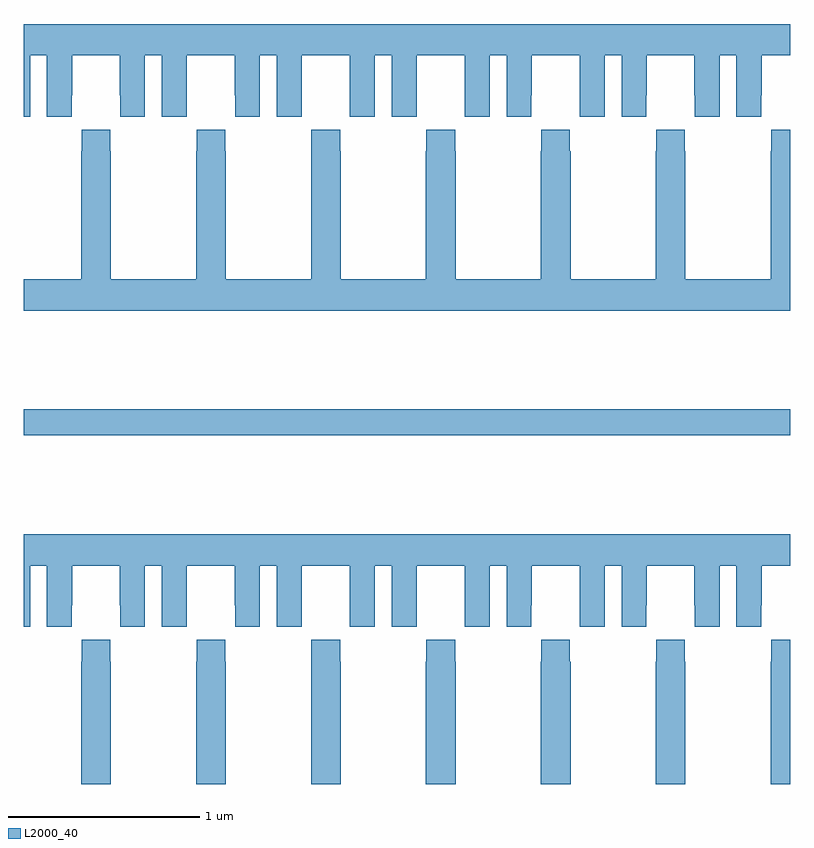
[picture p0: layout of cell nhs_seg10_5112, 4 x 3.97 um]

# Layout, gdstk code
import gdstk
lib = gdstk.Library(unit=1e-6, precision=1e-09)
def R(c, l, rs):  # rectangles x0, y0, x1, y1
    for r in rs: c.add(gdstk.rectangle(r[:2], r[2:], *l))
def P(c, l, *ps):  # polygons
    for p in ps: c.add(gdstk.Polygon(p, *l))
L2000_40 = (2000, 40)

nhs_seg10_5112 = lib.new_cell('nhs_seg10_5112')
R(nhs_seg10_5112, L2000_40, [(407,1310.32,411,1310.456)])
P(nhs_seg10_5112, L2000_40, [(407,1311.984),(407.032,1311.984),(407.032,1312.304),(407.12,1312.304),(407.12,1311.984),(407.25,1311.984),(407.25,1312.096),(407.251,1312.096),(407.251,1312.304),(407.501,1312.304),(407.501,1312.096),(407.502,1312.096),(407.502,1311.984),(407.632,1311.984),(407.632,1312.304),(407.72,1312.304),(407.72,1311.984),(407.85,1311.984),(407.85,1312.096),(407.851,1312.096),(407.851,1312.304),(408.101,1312.304),(408.101,1312.096),(408.102,1312.096),(408.102,1311.984),(408.232,1311.984),(408.232,1312.304),(408.32,1312.304),(408.32,1311.984),(408.45,1311.984),(408.45,1312.096),(408.451,1312.096),(408.451,1312.304),(408.701,1312.304),(408.701,1312.096),(408.702,1312.096),(408.702,1311.984),(408.832,1311.984),(408.832,1312.304),(408.92,1312.304),(408.92,1311.984),(409.05,1311.984),(409.05,1312.096),(409.051,1312.096),(409.051,1312.304),(409.301,1312.304),(409.301,1312.096),(409.302,1312.096),(409.302,1311.984),(409.432,1311.984),(409.432,1312.304),(409.52,1312.304),(409.52,1311.984),(409.65,1311.984),(409.65,1312.096),(409.651,1312.096),(409.651,1312.304),(409.901,1312.304),(409.901,1312.096),(409.902,1312.096),(409.902,1311.984),(410.032,1311.984),(410.032,1312.304),(410.12,1312.304),(410.12,1311.984),(410.25,1311.984),(410.25,1312.096),(410.251,1312.096),(410.251,1312.304),(410.501,1312.304),(410.501,1312.096),(410.502,1312.096),(410.502,1311.984),(410.632,1311.984),(410.632,1312.304),(410.72,1312.304),(410.72,1311.984),(410.85,1311.984),(410.85,1312.096),(410.851,1312.096),(410.851,1312.304),(411,1312.304),(411,1312.468),(407,1312.468)],
  [(407.451,1311.803),(407.451,1311.916),(407.301,1311.916),(407.301,1311.803),(407.299,1311.803),(407.299,1311.136),(407,1311.136),(407,1310.972),(411,1310.972),(411,1311.916),(410.901,1311.916),(410.901,1311.803),(410.899,1311.803),(410.899,1311.136),(410.454,1311.136),(410.454,1311.803),(410.451,1311.803),(410.451,1311.916),(410.301,1311.916),(410.301,1311.803),(410.299,1311.803),(410.299,1311.136),(409.854,1311.136),(409.854,1311.803),(409.851,1311.803),(409.851,1311.916),(409.701,1311.916),(409.701,1311.803),(409.699,1311.803),(409.699,1311.136),(409.254,1311.136),(409.254,1311.803),(409.251,1311.803),(409.251,1311.916),(409.101,1311.916),(409.101,1311.803),(409.099,1311.803),(409.099,1311.136),(408.654,1311.136),(408.654,1311.803),(408.651,1311.803),(408.651,1311.916),(408.501,1311.916),(408.501,1311.803),(408.499,1311.803),(408.499,1311.136),(408.054,1311.136),(408.054,1311.803),(408.051,1311.803),(408.051,1311.916),(407.901,1311.916),(407.901,1311.803),(407.899,1311.803),(407.899,1311.136),(407.454,1311.136),(407.454,1311.803)],
  [(407,1309.32),(407.032,1309.32),(407.032,1309.64),(407.12,1309.64),(407.12,1309.32),(407.25,1309.32),(407.25,1309.432),(407.251,1309.432),(407.251,1309.64),(407.501,1309.64),(407.501,1309.432),(407.502,1309.432),(407.502,1309.32),(407.632,1309.32),(407.632,1309.64),(407.72,1309.64),(407.72,1309.32),(407.85,1309.32),(407.85,1309.432),(407.851,1309.432),(407.851,1309.64),(408.101,1309.64),(408.101,1309.432),(408.102,1309.432),(408.102,1309.32),(408.232,1309.32),(408.232,1309.64),(408.32,1309.64),(408.32,1309.32),(408.45,1309.32),(408.45,1309.432),(408.451,1309.432),(408.451,1309.64),(408.701,1309.64),(408.701,1309.432),(408.702,1309.432),(408.702,1309.32),(408.832,1309.32),(408.832,1309.64),(408.92,1309.64),(408.92,1309.32),(409.05,1309.32),(409.05,1309.432),(409.051,1309.432),(409.051,1309.64),(409.301,1309.64),(409.301,1309.432),(409.302,1309.432),(409.302,1309.32),(409.432,1309.32),(409.432,1309.64),(409.52,1309.64),(409.52,1309.32),(409.65,1309.32),(409.65,1309.432),(409.651,1309.432),(409.651,1309.64),(409.901,1309.64),(409.901,1309.432),(409.902,1309.432),(409.902,1309.32),(410.032,1309.32),(410.032,1309.64),(410.12,1309.64),(410.12,1309.32),(410.25,1309.32),(410.25,1309.432),(410.251,1309.432),(410.251,1309.64),(410.501,1309.64),(410.501,1309.432),(410.502,1309.432),(410.502,1309.32),(410.632,1309.32),(410.632,1309.64),(410.72,1309.64),(410.72,1309.32),(410.85,1309.32),(410.85,1309.432),(410.851,1309.432),(410.851,1309.64),(411,1309.64),(411,1309.804),(407,1309.804)],
  [(411,1309.252),(410.901,1309.252),(410.901,1309.139),(410.899,1309.139),(410.899,1308.5),(411,1308.5)],
  [(410.454,1309.139),(410.451,1309.139),(410.451,1309.252),(410.301,1309.252),(410.301,1309.139),(410.299,1309.139),(410.299,1308.5),(410.454,1308.5)],
  [(409.854,1309.139),(409.851,1309.139),(409.851,1309.252),(409.701,1309.252),(409.701,1309.139),(409.699,1309.139),(409.699,1308.5),(409.854,1308.5)],
  [(409.254,1309.139),(409.251,1309.139),(409.251,1309.252),(409.101,1309.252),(409.101,1309.139),(409.099,1309.139),(409.099,1308.5),(409.254,1308.5)],
  [(408.654,1309.139),(408.651,1309.139),(408.651,1309.252),(408.501,1309.252),(408.501,1309.139),(408.499,1309.139),(408.499,1308.5),(408.654,1308.5)],
  [(408.054,1309.139),(408.051,1309.139),(408.051,1309.252),(407.901,1309.252),(407.901,1309.139),(407.899,1309.139),(407.899,1308.5),(408.054,1308.5)],
  [(407.454,1309.139),(407.451,1309.139),(407.451,1309.252),(407.301,1309.252),(407.301,1309.139),(407.299,1309.139),(407.299,1308.5),(407.454,1308.5)])

lib.write_gds('nhs_seg10_5112.gds')
